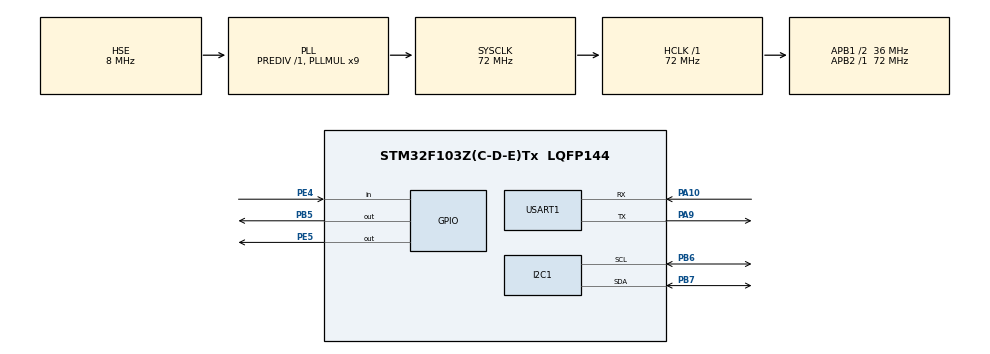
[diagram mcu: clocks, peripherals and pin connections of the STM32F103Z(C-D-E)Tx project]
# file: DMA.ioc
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Dma.Request0=USART1_TX
Dma.Request1=USART1_RX
Dma.USART1_RX.1.Direction=DMA_PERIPH_TO_MEMORY
Dma.USART1_RX.1.Instance=DMA1_Channel5
Dma.USART1_RX.1.MemDataAlignment=DMA_MDATAALIGN_BYTE
Dma.USART1_RX.1.MemInc=DMA_MINC_ENABLE
Dma.USART1_RX.1.Mode=DMA_NORMAL
Dma.USART1_RX.1.PeriphDataAlignment=DMA_PDATAALIGN_BYTE
Dma.USART1_RX.1.PeriphInc=DMA_PINC_DISABLE
Dma.USART1_RX.1.Priority=DMA_PRIORITY_HIGH
Dma.USART1_TX.0.Direction=DMA_MEMORY_TO_PERIPH
Dma.USART1_TX.0.Instance=DMA1_Channel4
Dma.USART1_TX.0.MemDataAlignment=DMA_MDATAALIGN_BYTE
Dma.USART1_TX.0.MemInc=DMA_MINC_ENABLE
Dma.USART1_TX.0.Mode=DMA_NORMAL
Dma.USART1_TX.0.PeriphDataAlignment=DMA_PDATAALIGN_BYTE
Dma.USART1_TX.0.PeriphInc=DMA_PINC_DISABLE
Dma.USART1_TX.0.Priority=DMA_PRIORITY_LOW
I2C1.I2C_Mode=I2C_Fast
Mcu.Family=STM32F1
Mcu.Name=STM32F103Z(C-D-E)Tx
Mcu.Package=LQFP144
NVIC.DMA1_Channel4_IRQn=true\:0\:0\:false\:false\:true\:false\:true\:true
NVIC.DMA1_Channel5_IRQn=true\:0\:0\:false\:false\:true\:false\:true\:true
NVIC.PriorityGroup=NVIC_PRIORITYGROUP_4
NVIC.USART1_IRQn=true\:0\:0\:false\:false\:true\:true\:true\:true
OSC_IN.Mode=HSE-External-Oscillator
OSC_IN.Signal=RCC_OSC_IN
OSC_OUT.Mode=HSE-External-Oscillator
OSC_OUT.Signal=RCC_OSC_OUT
PA10.Mode=Asynchronous
PA10.Signal=USART1_RX
PA13.Mode=Serial_Wire
PA13.Signal=SYS_JTMS-SWDIO
PA14.Mode=Serial_Wire
PA14.Signal=SYS_JTCK-SWCLK
PA9.Mode=Asynchronous
PA9.Signal=USART1_TX
PB5.GPIO_Speed=GPIO_SPEED_FREQ_HIGH
PB5.PinState=GPIO_PIN_SET
PB5.Signal=GPIO_Output
PB6.Mode=I2C
PB6.Signal=I2C1_SCL
PB7.Mode=I2C
PB7.Signal=I2C1_SDA
PE4.GPIO_PuPd=GPIO_PULLUP
PE4.Signal=GPIO_Input
PE5.GPIO_Speed=GPIO_SPEED_FREQ_HIGH
PE5.PinState=GPIO_PIN_SET
PE5.Signal=GPIO_Output
ProjectManager.HeapSize=0x200
ProjectManager.StackSize=0x400
ProjectManager.TargetToolchain=MDK-ARM V5.32
RCC.AHBFreq_Value=72000000
RCC.APB1CLKDivider=RCC_HCLK_DIV2
RCC.APB1Freq_Value=36000000
RCC.APB1TimFreq_Value=72000000
RCC.APB2Freq_Value=72000000
RCC.APB2TimFreq_Value=72000000
RCC.HCLKFreq_Value=72000000
RCC.PLLMUL=RCC_PLL_MUL9
RCC.PLLSourceVirtual=RCC_PLLSOURCE_HSE
RCC.SYSCLKFreq_VALUE=72000000
RCC.SYSCLKSource=RCC_SYSCLKSOURCE_PLLCLK
RCC.USBFreq_Value=72000000
USART1.VirtualMode=VM_ASYNC
board=custom

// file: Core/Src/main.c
/* USER CODE BEGIN Header */
/**
  ******************************************************************************
  * @file           : main.c
  * @brief          : Main program body
  ******************************************************************************
  * @attention
  *
  * Copyright (c) 2026 STMicroelectronics.
  * All rights reserved.
  *
  * This software is licensed under terms that can be found in the LICENSE file
  * in the root directory of this software component.
  * If no LICENSE file comes with this software, it is provided AS-IS.
  *
  ******************************************************************************
  */
/* USER CODE END Header */
#include "main.h"
#include "dma.h"
#include "i2c.h"
#include "usart.h"
#include "gpio.h"

/* USER CODE BEGIN Includes */
#include "led.h"
#include "key.h"
#include "delay.h"
#include "userdma.h"
#include "oled.h"
/* USER CODE END Includes */

void SystemClock_Config(void);

/* USER CODE BEGIN 0 */
uint8_t aTxBuffer[] = "Hello, DMA! This is a test message for USART transmission using DMA.";
uint8_t aRxBuffer[64]; //接收缓冲区，大小根据需要调整
#define TX_BUFFER_SIZE sizeof(aTxBuffer)
#define RX_BUFFER_SIZE sizeof(aRxBuffer)

extern DMA_HandleTypeDef hdma_usart1_tx;
extern DMA_HandleTypeDef hdma_usart1_rx;
/* USER CODE END 0 */

int main(void)
{

  /* MCU Configuration--------------------------------------------------------*/

  /* Reset of all peripherals, Initializes the Flash interface and the Systick. */
  HAL_Init();

  /* Configure the system clock */
  SystemClock_Config();

  /* USER CODE BEGIN SysInit */
  DWT_Init();
  /* USER CODE END SysInit */

  /* Initialize all configured peripherals */
  MX_GPIO_Init();
  MX_DMA_Init();
  MX_USART1_UART_Init();
  MX_I2C1_Init();
  /* USER CODE BEGIN 2 */
  // UART1_DMA_RX_RECEIVE(aRxBuffer, RX_BUFFER_SIZE); //启动接收
  printf("Initializing OLED...\r\n");
  OLED_Init(); //初始化OLED
  printf("Filling OLED with white...\r\n");
  OLED_FillWhite(); //填充全白
  /* USER CODE END 2 */

  /* Infinite loop */
  while (1)
  {

  }
}

void SystemClock_Config(void)
{
  RCC_OscInitTypeDef RCC_OscInitStruct = {0};
  RCC_ClkInitTypeDef RCC_ClkInitStruct = {0};

  /** Initializes the RCC Oscillators according to the specified parameters
  * in the RCC_OscInitTypeDef structure.
  */
  RCC_OscInitStruct.OscillatorType = RCC_OSCILLATORTYPE_HSE;
  RCC_OscInitStruct.HSEState = RCC_HSE_ON;
  RCC_OscInitStruct.HSEPredivValue = RCC_HSE_PREDIV_DIV1;
  RCC_OscInitStruct.HSIState = RCC_HSI_ON;
  RCC_OscInitStruct.PLL.PLLState = RCC_PLL_ON;
  RCC_OscInitStruct.PLL.PLLSource = RCC_PLLSOURCE_HSE;
  RCC_OscInitStruct.PLL.PLLMUL = RCC_PLL_MUL9;
  if (HAL_RCC_OscConfig(&RCC_OscInitStruct) != HAL_OK)
  {
    Error_Handler();
  }

  /** Initializes the CPU, AHB and APB buses clocks
  */
  RCC_ClkInitStruct.ClockType = RCC_CLOCKTYPE_HCLK|RCC_CLOCKTYPE_SYSCLK
                              |RCC_CLOCKTYPE_PCLK1|RCC_CLOCKTYPE_PCLK2;
  RCC_ClkInitStruct.SYSCLKSource = RCC_SYSCLKSOURCE_PLLCLK;
  RCC_ClkInitStruct.AHBCLKDivider = RCC_SYSCLK_DIV1;
  RCC_ClkInitStruct.APB1CLKDivider = RCC_HCLK_DIV2;
  RCC_ClkInitStruct.APB2CLKDivider = RCC_HCLK_DIV1;

  if (HAL_RCC_ClockConfig(&RCC_ClkInitStruct, FLASH_LATENCY_2) != HAL_OK)
  {
    Error_Handler();
  }
}

void Error_Handler(void)
{
  __disable_irq();
  while (1)
  {
  }
}
